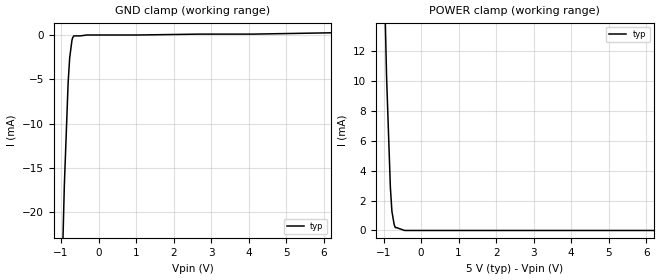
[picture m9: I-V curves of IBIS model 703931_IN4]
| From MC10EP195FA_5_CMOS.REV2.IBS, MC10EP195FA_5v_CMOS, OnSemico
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| (C) COPYRIGHT 1993-2001
| MENTOR GRAPHICS CORPORATION
| ICX STANDARD LIBRARY, ICX PROJECT MODELING,
| ICX CUSTOM MODELING, ICX VENDOR MODEL
| ALL RIGHTS RESERVED.
| THE FOLLOWING ARE TRADEMARKS OR SERVICE MARKS OF
| MENTOR GRAPHICS CORPORATION:ICX (R), ICX STANDARD
| LIBRARY(R), ICX PROJECT MODELING(R), ICX CUSTOM
| MODELING(R), qualityIBIS(TM), MODELVIEWER(TM),
| AND MODELEDITOR(TM)
| ALL COPIES OF SOFTWARE, INCLUDING BUT NOT LIMITED TO
| ANY MODIFICATIONS, ENHANCEMENTS OR DERIVATIVE WORKS,
| MUST CONTAIN ALL MENTOR GRAPHICS CORPORATION'S
| NOTICES AND LEGENDS, INCLUDING THOSE EMBEDDED IN
| SOFTWARE AND THOSE AFFIXED TO SOFTWARE MEDIUM
| AND CONTAINER, AS RECEIVED FROM MENTOR GRAPHICS
| CORPORATION.
| Model Application Version 1.89 2/18/99.
[Model] 703931_IN4
Model_type Input_ECL
Vinl = 3.455V
Vinh = 3.855V
C_comp 4.000pF NA NA
| variable typ   min   max
[Voltage Range] 5.000V NA NA
[GND Clamp Reference] 0.000V NA NA
[POWER Clamp Reference] 5.000V NA NA
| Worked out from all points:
|   GND clamp passes 1 mA (typ) near -0.72 V on its own axis
|   POWER clamp passes 1 mA (typ) near -0.76 V on its own axis
[GND Clamp]
-5V       -885.9mA   NA         NA
-1.054V   -40.7mA    NA         NA
-912mV    -17mA      NA         NA
-811mV    -5.4mA     NA         NA
-770mV    -2.6mA     NA         NA
-709mV    -600uA     NA         NA
-689mV    -300uA     NA         NA
-658.7mV  -100uA     NA         NA
-314.2mV  0A         NA         NA
4.105V    100uA      NA         NA
10V       518.4uA    NA         NA
[POWER Clamp]
-5V       560.8mA    NA         NA
-1.061V   25.66mA    NA         NA
-919mV    10.27mA    NA         NA
-818mV    2.878mA    NA         NA
-777mV    1.281mA    NA         NA
-716mV    385.7uA    NA         NA
-685.5mV  190uA      NA         NA
-655mV    190uA      NA         NA
-436.7mV  0A         NA         NA
10V       0A         NA         NA
